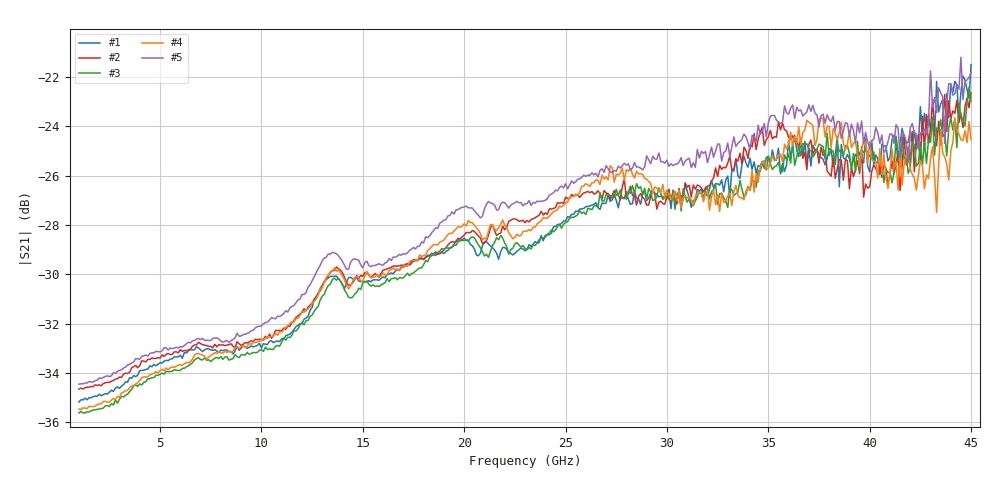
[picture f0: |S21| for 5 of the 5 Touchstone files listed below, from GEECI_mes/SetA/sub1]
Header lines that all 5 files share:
!Keysight Technologies,N5247B,MY61255062,A.19.80.06
!Correction: S11(Cdelta 2-Port  )
!S21(Cdelta 2-Port  )
!S12(Cdelta 2-Port  )
!S22(Cdelta 2-Port  )
!S2P File: Measurements: S11, S21, S12, S22:
# Hz S  dB  R 50
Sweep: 1 GHz to 45 GHz
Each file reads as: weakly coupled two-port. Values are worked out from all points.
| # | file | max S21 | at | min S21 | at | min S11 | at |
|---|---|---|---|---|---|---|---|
| 1 | 1.s2p | -21.49 dB | 45 GHz | -35.2 dB | 1 GHz | -4.3 dB | 45 GHz |
| 2 | 3.s2p | -22.62 dB | 45 GHz | -34.7 dB | 1 GHz | -4.1 dB | 44.9 GHz |
| 3 | 4.s2p | -22.41 dB | 44.9 GHz | -35.6 dB | 1.3 GHz | -3.4 dB | 44.9 GHz |
| 4 | 5.s2p | -23.63 dB | 37.6 GHz | -35.5 dB | 1.1 GHz | -3.8 dB | 37.7 GHz |
| 5 | 6.s2p | -21.19 dB | 44.5 GHz | -34.5 dB | 1 GHz | -3.4 dB | 44.9 GHz |
